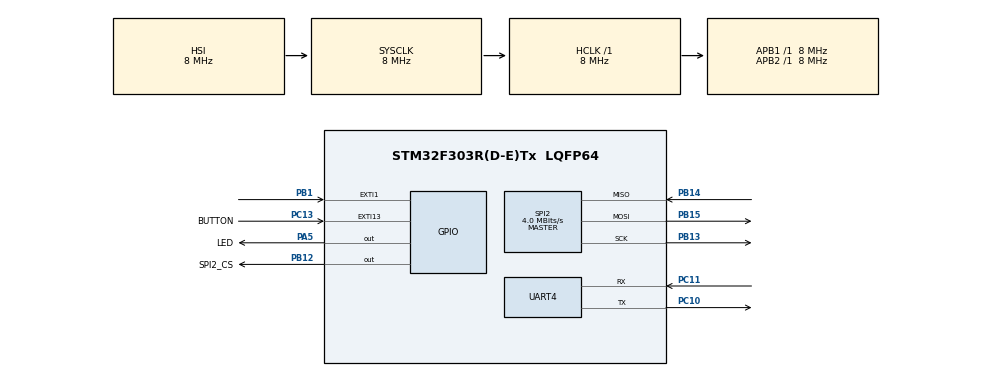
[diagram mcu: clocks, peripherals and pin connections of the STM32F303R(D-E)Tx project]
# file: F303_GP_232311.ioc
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Dma.Request0=UART4_RX
Dma.UART4_RX.0.Direction=DMA_PERIPH_TO_MEMORY
Dma.UART4_RX.0.Instance=DMA2_Channel3
Dma.UART4_RX.0.MemDataAlignment=DMA_MDATAALIGN_BYTE
Dma.UART4_RX.0.MemInc=DMA_MINC_ENABLE
Dma.UART4_RX.0.Mode=DMA_NORMAL
Dma.UART4_RX.0.PeriphDataAlignment=DMA_PDATAALIGN_BYTE
Dma.UART4_RX.0.PeriphInc=DMA_PINC_DISABLE
Dma.UART4_RX.0.Priority=DMA_PRIORITY_LOW
Mcu.Family=STM32F3
Mcu.Name=STM32F303R(D-E)Tx
Mcu.Package=LQFP64
NVIC.DMA2_Channel3_IRQn=true\:0\:0\:false\:false\:true\:false\:true\:true
NVIC.EXTI15_10_IRQn=true\:0\:0\:false\:false\:true\:true\:true\:true
NVIC.EXTI1_IRQn=true\:0\:0\:false\:false\:true\:true\:true\:true
NVIC.PriorityGroup=NVIC_PRIORITYGROUP_4
PA13.Mode=Serial_Wire
PA13.Signal=SYS_JTMS-SWDIO
PA14.Mode=Serial_Wire
PA14.Signal=SYS_JTCK-SWCLK
PA5.GPIO_Label=LED
PA5.Signal=GPIO_Output
PB1.GPIO_ModeDefaultEXTI=GPIO_MODE_IT_RISING
PB1.GPIO_PuPd=GPIO_NOPULL
PB1.Signal=GPXTI1
PB12.GPIO_Label=SPI2_CS
PB12.Signal=GPIO_Output
PB13.Mode=Full_Duplex_Master
PB13.Signal=SPI2_SCK
PB14.Mode=Full_Duplex_Master
PB14.Signal=SPI2_MISO
PB15.Mode=Full_Duplex_Master
PB15.Signal=SPI2_MOSI
PC10.Mode=Asynchronous
PC10.Signal=UART4_TX
PC11.Mode=Asynchronous
PC11.Signal=UART4_RX
PC13.GPIO_Label=BUTTON
PC13.GPIO_ModeDefaultEXTI=GPIO_MODE_IT_FALLING
PC13.GPIO_PuPd=GPIO_PULLUP
PC13.Signal=GPXTI13
ProjectManager.HeapSize=0x200
ProjectManager.StackSize=0x400
ProjectManager.TargetToolchain=STM32CubeIDE
RCC.AHBFreq_Value=8000000
RCC.APB1Freq_Value=8000000
RCC.APB2Freq_Value=8000000
RCC.CortexFreq_Value=8000000
RCC.HSE_VALUE=8000000
RCC.HSI_VALUE=8000000
RCC.LSE_VALUE=32768
RCC.SYSCLKFreq_VALUE=8000000
RCC.USBFreq_Value=16000000
SPI2.CLKPhase=SPI_PHASE_2EDGE
SPI2.CLKPolarity=SPI_POLARITY_HIGH
SPI2.CalculateBaudRate=4.0 MBits/s
SPI2.DataSize=SPI_DATASIZE_8BIT
SPI2.Direction=SPI_DIRECTION_2LINES
SPI2.Mode=SPI_MODE_MASTER
SPI2.VirtualType=VM_MASTER
board=custom

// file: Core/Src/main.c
/* USER CODE BEGIN Header */
/**
  ******************************************************************************
  * @file           : main.c
  * @brief          : Main program body
  ******************************************************************************
  * @attention
  *
  * Copyright (c) 2023 STMicroelectronics.
  * All rights reserved.
  *
  * This software is licensed under terms that can be found in the LICENSE file
  * in the root directory of this software component.
  * If no LICENSE file comes with this software, it is provided AS-IS.
  *
  ******************************************************************************
  */
/* USER CODE END Header */
#include "main.h"

/* USER CODE BEGIN Includes */
#include "cims.h"
/* USER CODE END Includes */

/* USER CODE BEGIN PM */
#define UART_SIZE 4
uint8_t buffer[UART_SIZE]={0};
uint8_t size = 0;
uint8_t flag = 0;

uint8_t button_status;
/* USER CODE END PM */

SPI_HandleTypeDef hspi2;

UART_HandleTypeDef huart4;
DMA_HandleTypeDef hdma_uart4_rx;

void SystemClock_Config(void);
static void MX_GPIO_Init(void);
static void MX_DMA_Init(void);
static void MX_UART4_Init(void);
static void MX_SPI2_Init(void);
/* USER CODE BEGIN PFP */
void HAL_UARTEx_RxEventCallback(UART_HandleTypeDef *huart, uint16_t Size)
{
  UNUSED(huart);

  size = Size;
  if(huart->Instance == UART4){
	  HAL_UARTEx_ReceiveToIdle_DMA(&huart4, buffer, UART_SIZE);
	  __HAL_DMA_DISABLE_IT(&hdma_uart4_rx, DMA_IT_HT);
	  switch (buffer[0]) {
		case 0xAA:
			flag = 1;
			break;
		case 0xAB:
			flag = 2;
			break;
		case 0xAC:
			flag = 3;
			break;
		case 0xAD:
			flag = 4;
			break;
		case 0xAE:
			flag = 5;
			break;
		case 0xAF:
			flag = 6;
			break;
		case 0xDA:
			flag = 7;
			break;
		default:
			flag = 0;
			break;
	}
  }
}

void HAL_GPIO_EXTI_Callback(uint16_t GPIO_Pin)
{
	UNUSED(GPIO_Pin);
	if(GPIO_Pin == BUTTON_Pin){
		SPI_QCA7000_Reset_Config();
		HAL_GPIO_TogglePin(LED_GPIO_Port, LED_Pin);
		flag = 10;
//		HMI_Compose_Realtime_Data(HMI_VOLTAGE, 0x0050);
//		Serial_Print();
//		HMI_Compose_Pre_Charge_Parm(HMI_COMPATIBLE, 0x00AA);
//		Serial_Print();
//		HMI_Compose_Pre_Charge_Parm(HMI_BATTERY, 0x0020);
//		Serial_Print();
//		HMI_Compose_Pre_Charge_Parm(HMI_BATTERY_VOLTAGE, 0x0080);
//		Serial_Print();
//		HMI_Compose_Pre_Charge_Parm(HMI_CHARGING_TIME, 0x0050);
//		Serial_Print();
	}
	else if(GPIO_Pin == GPIO_PIN_1){
		HAL_GPIO_TogglePin(LED_GPIO_Port, LED_Pin);
		SPI_QCA7000_Handling_Intr();
//		flag = 10;
//	    if(cause & 0x0001){
//	    	memcpy(serial_output_buffer, spi_tx_buffer, spi_data_size);
//	    	int i;
//	   	    for(i=0; i<spi_data_size; i++){
//	       	uint8_t* a[3];
//	       	sprintf(a, " %x ", serial_output_buffer[i]);
//	       	HAL_UART_Transmit(&huart4, a, 3, 10);
//	       }
//	    }
	}
}

void Serial_Print(void) {
  #define TIMEOUT_100_MS 100
  HAL_UART_Transmit(&huart4, (uint8_t*)serial_output_buffer, strlen(serial_output_buffer), TIMEOUT_100_MS);
//  uint8_t END_BYTE = 0xFF;
//  HAL_UART_Transmit(&huart4, &END_BYTE, 1, 10);
//  HAL_UART_Transmit(&huart4, &END_BYTE, 1, 10);
//  HAL_UART_Transmit(&huart4, &END_BYTE, 1, 10);
}

void SPI_Transmit_Receive(void) {
  HAL_GPIO_WritePin(SPI2_CS_GPIO_Port, SPI2_CS_Pin, GPIO_PIN_RESET);
  HAL_SPI_TransmitReceive(&hspi2, spi_tx_buffer, spi_rx_buffer, spi_data_size, 200);
  HAL_GPIO_WritePin(SPI2_CS_GPIO_Port, SPI2_CS_Pin, GPIO_PIN_SET);
}
/* USER CODE END PFP */

int main(void)
{

  /* MCU Configuration--------------------------------------------------------*/

  /* Reset of all peripherals, Initializes the Flash interface and the Systick. */
  HAL_Init();

  /* Configure the system clock */
  SystemClock_Config();

  /* Initialize all configured peripherals */
  MX_GPIO_Init();
  MX_DMA_Init();
  MX_UART4_Init();
  MX_SPI2_Init();
  /* USER CODE BEGIN 2 */
  SPI_QCA7000_Init_Setup();
  HAL_UARTEx_ReceiveToIdle_DMA(&huart4, buffer, UART_SIZE);
  __HAL_DMA_DISABLE_IT(&hdma_uart4_rx, DMA_IT_HT);
  /* USER CODE END 2 */

  /* Infinite loop */
  while (1)
  {

    /* USER CODE BEGIN 3 */
	  if(flag == 1){ // AA
		  PEF_Compose_Current_Suppression_Req();
		  SPI_QCA7000_Send_Eth_Frame();
		  flag = 0;
	  }
	  else if (flag == 2){ //AB
		  uint16_t a = 0x001E;
		  PEF_Compose_Charging_Current_Demand_Req(a, 0xAA, 0xAA);
		  SPI_QCA7000_Send_Eth_Frame();
		  flag = 0;
	  }
	  else if (flag == 3){ //AC
		  PEF_Compose_Connector_Lock_Req();
		  SPI_QCA7000_Send_Eth_Frame();
		  flag = 0;
	  }
	  else if (flag == 4){ //AD
		  PEF_Compose_Initialization_Req();
		  SPI_QCA7000_Send_Eth_Frame();
		  flag =0;
	  }
	  else if(flag == 10){
		  PEF_Evaluate_Exchange_Data();
		  flag =0;
	  }
  }
  /* USER CODE END 3 */
}

void SystemClock_Config(void)
{
  RCC_OscInitTypeDef RCC_OscInitStruct = {0};
  RCC_ClkInitTypeDef RCC_ClkInitStruct = {0};
  RCC_PeriphCLKInitTypeDef PeriphClkInit = {0};

  /** Initializes the RCC Oscillators according to the specified parameters
  * in the RCC_OscInitTypeDef structure.
  */
  RCC_OscInitStruct.OscillatorType = RCC_OSCILLATORTYPE_HSI;
  RCC_OscInitStruct.HSIState = RCC_HSI_ON;
  RCC_OscInitStruct.HSICalibrationValue = RCC_HSICALIBRATION_DEFAULT;
  RCC_OscInitStruct.PLL.PLLState = RCC_PLL_NONE;
  if (HAL_RCC_OscConfig(&RCC_OscInitStruct) != HAL_OK)
  {
    Error_Handler();
  }

  /** Initializes the CPU, AHB and APB buses clocks
  */
  RCC_ClkInitStruct.ClockType = RCC_CLOCKTYPE_HCLK|RCC_CLOCKTYPE_SYSCLK
                              |RCC_CLOCKTYPE_PCLK1|RCC_CLOCKTYPE_PCLK2;
  RCC_ClkInitStruct.SYSCLKSource = RCC_SYSCLKSOURCE_HSI;
  RCC_ClkInitStruct.AHBCLKDivider = RCC_SYSCLK_DIV1;
  RCC_ClkInitStruct.APB1CLKDivider = RCC_HCLK_DIV1;
  RCC_ClkInitStruct.APB2CLKDivider = RCC_HCLK_DIV1;

  if (HAL_RCC_ClockConfig(&RCC_ClkInitStruct, FLASH_LATENCY_0) != HAL_OK)
  {
    Error_Handler();
  }
  PeriphClkInit.PeriphClockSelection = RCC_PERIPHCLK_UART4;
  PeriphClkInit.Uart4ClockSelection = RCC_UART4CLKSOURCE_PCLK1;
  if (HAL_RCCEx_PeriphCLKConfig(&PeriphClkInit) != HAL_OK)
  {
    Error_Handler();
  }
}

static void MX_SPI2_Init(void)
{

  /* SPI2 parameter configuration*/
  hspi2.Instance = SPI2;
  hspi2.Init.Mode = SPI_MODE_MASTER;
  hspi2.Init.Direction = SPI_DIRECTION_2LINES;
  hspi2.Init.DataSize = SPI_DATASIZE_8BIT;
  hspi2.Init.CLKPolarity = SPI_POLARITY_HIGH;
  hspi2.Init.CLKPhase = SPI_PHASE_2EDGE;
  hspi2.Init.NSS = SPI_NSS_SOFT;
  hspi2.Init.BaudRatePrescaler = SPI_BAUDRATEPRESCALER_2;
  hspi2.Init.FirstBit = SPI_FIRSTBIT_MSB;
  hspi2.Init.TIMode = SPI_TIMODE_DISABLE;
  hspi2.Init.CRCCalculation = SPI_CRCCALCULATION_DISABLE;
  hspi2.Init.CRCPolynomial = 7;
  hspi2.Init.CRCLength = SPI_CRC_LENGTH_DATASIZE;
  hspi2.Init.NSSPMode = SPI_NSS_PULSE_DISABLE;
  if (HAL_SPI_Init(&hspi2) != HAL_OK)
  {
    Error_Handler();
  }

}

static void MX_UART4_Init(void)
{

  huart4.Instance = UART4;
  huart4.Init.BaudRate = 115200;
  huart4.Init.WordLength = UART_WORDLENGTH_8B;
  huart4.Init.StopBits = UART_STOPBITS_1;
  huart4.Init.Parity = UART_PARITY_NONE;
  huart4.Init.Mode = UART_MODE_TX_RX;
  huart4.Init.HwFlowCtl = UART_HWCONTROL_NONE;
  huart4.Init.OverSampling = UART_OVERSAMPLING_16;
  huart4.Init.OneBitSampling = UART_ONE_BIT_SAMPLE_DISABLE;
  huart4.AdvancedInit.AdvFeatureInit = UART_ADVFEATURE_NO_INIT;
  if (HAL_UART_Init(&huart4) != HAL_OK)
  {
    Error_Handler();
  }

}

static void MX_DMA_Init(void)
{

  /* DMA controller clock enable */
  __HAL_RCC_DMA2_CLK_ENABLE();

  /* DMA interrupt init */
  /* DMA2_Channel3_IRQn interrupt configuration */
  HAL_NVIC_SetPriority(DMA2_Channel3_IRQn, 0, 0);
  HAL_NVIC_EnableIRQ(DMA2_Channel3_IRQn);

}

static void MX_GPIO_Init(void)
{
  GPIO_InitTypeDef GPIO_InitStruct = {0};

  /* GPIO Ports Clock Enable */
  __HAL_RCC_GPIOC_CLK_ENABLE();
  __HAL_RCC_GPIOA_CLK_ENABLE();
  __HAL_RCC_GPIOB_CLK_ENABLE();

  /*Configure GPIO pin Output Level */
  HAL_GPIO_WritePin(LED_GPIO_Port, LED_Pin, GPIO_PIN_RESET);

  /*Configure GPIO pin Output Level */
  HAL_GPIO_WritePin(SPI2_CS_GPIO_Port, SPI2_CS_Pin, GPIO_PIN_RESET);

  /*Configure GPIO pin : BUTTON_Pin */
  GPIO_InitStruct.Pin = BUTTON_Pin;
  GPIO_InitStruct.Mode = GPIO_MODE_IT_FALLING;
  GPIO_InitStruct.Pull = GPIO_PULLUP;
  HAL_GPIO_Init(BUTTON_GPIO_Port, &GPIO_InitStruct);

  /*Configure GPIO pin : LED_Pin */
  GPIO_InitStruct.Pin = LED_Pin;
  GPIO_InitStruct.Mode = GPIO_MODE_OUTPUT_PP;
  GPIO_InitStruct.Pull = GPIO_NOPULL;
  GPIO_InitStruct.Speed = GPIO_SPEED_FREQ_LOW;
  HAL_GPIO_Init(LED_GPIO_Port, &GPIO_InitStruct);

  /*Configure GPIO pin : PB1 */
  GPIO_InitStruct.Pin = GPIO_PIN_1;
  GPIO_InitStruct.Mode = GPIO_MODE_IT_RISING;
  GPIO_InitStruct.Pull = GPIO_NOPULL;
  HAL_GPIO_Init(GPIOB, &GPIO_InitStruct);

  /*Configure GPIO pin : SPI2_CS_Pin */
  GPIO_InitStruct.Pin = SPI2_CS_Pin;
  GPIO_InitStruct.Mode = GPIO_MODE_OUTPUT_PP;
  GPIO_InitStruct.Pull = GPIO_NOPULL;
  GPIO_InitStruct.Speed = GPIO_SPEED_FREQ_LOW;
  HAL_GPIO_Init(SPI2_CS_GPIO_Port, &GPIO_InitStruct);

  /* EXTI interrupt init*/
  HAL_NVIC_SetPriority(EXTI1_IRQn, 0, 0);
  HAL_NVIC_EnableIRQ(EXTI1_IRQn);

  HAL_NVIC_SetPriority(EXTI15_10_IRQn, 0, 0);
  HAL_NVIC_EnableIRQ(EXTI15_10_IRQn);

}

void Error_Handler(void)
{
  __disable_irq();
  while (1)
  {
  }
}
